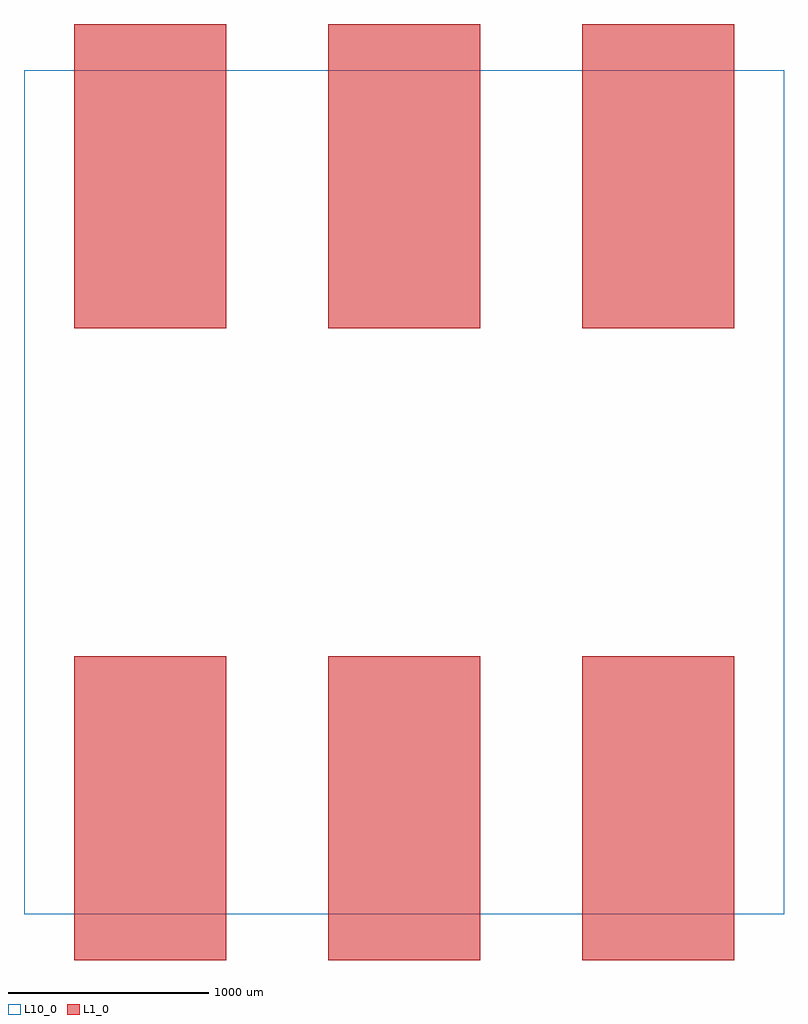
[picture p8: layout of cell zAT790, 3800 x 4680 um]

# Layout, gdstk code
import gdstk
lib = gdstk.Library(unit=1e-6, precision=1e-09)
def R(c, l, rs):  # rectangles x0, y0, x1, y1
    for r in rs: c.add(gdstk.rectangle(r[:2], r[2:], *l))
def A(c, l, x, y, w, h, nx, ny, dx, dy):  # array of equal rectangles
    R(c, l, [(x+i*dx, y+j*dy, x+i*dx+w, y+j*dy+h) for i in range(nx) for j in range(ny)])
L1_0 = (1, 0)
L10_0 = (10, 0)

zat790 = lib.new_cell('zAT790')
A(zat790, L1_0, -1650, -2340, 760, 1520, 3, 2, 1270, 3160)
R(zat790, L10_0, [(-1900,-2110,1900,2110)])

lib.write_gds('zAT790.gds')
